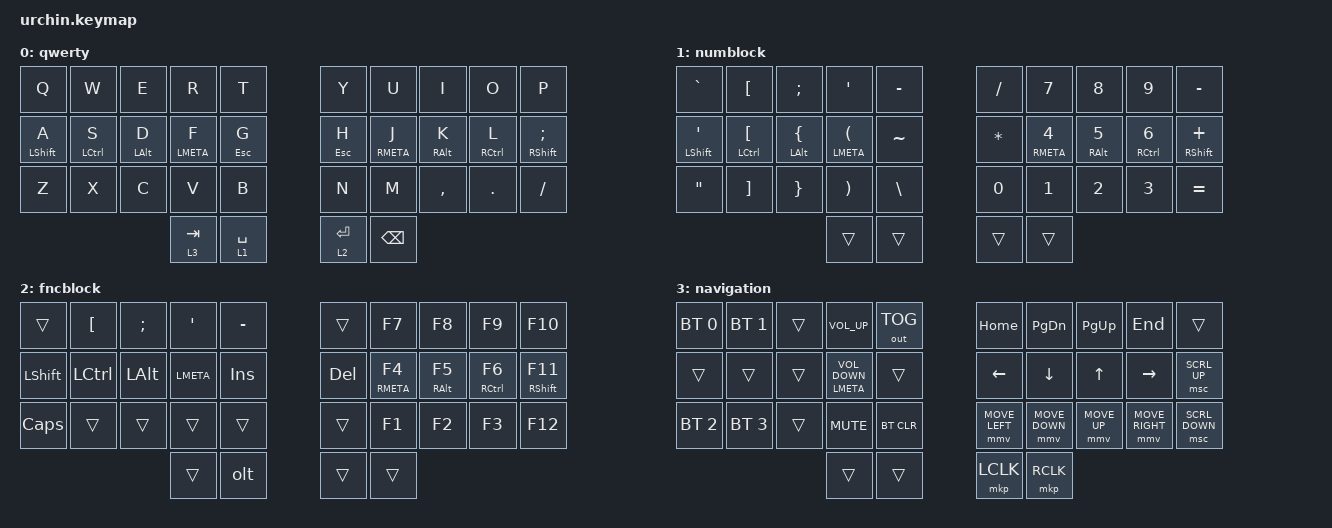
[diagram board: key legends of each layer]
/*
 * Copyright (c) 2020 duckyb
 *
 * SPDX-License-Identifier: MIT
 */

#include <behaviors.dtsi>
#include <dt-bindings/zmk/keys.h>
#include <dt-bindings/zmk/bt.h>
#include <dt-bindings/zmk/pointing.h>
#include <dt-bindings/zmk/outputs.h>

// Layer definitions
#define BASE 0
#define NUM 1
#define FNC 2
#define NAV 3
// -----------------

&mt {
    flavor = "balanced";
};


/ {
    macros {
        olt: os_language_toggle {
            compatible = "zmk,behavior-macro";
            #binding-cells =  <0>;
            bindings
                = <&kp LS(LALT)>
                , <&kp LC(SPACE)>
                ;
        };
    };

	keymap {
		compatible = "zmk,keymap";
		// Base alpha layer
		default_layer {
			label = "qwerty";
			bindings = <
			&kp Q         &kp W       &kp E      &kp R       &kp T                                 &kp Y     &kp U       &kp I      &kp O       &kp P
			&mt LSHIFT A  &mt LCTRL S &mt LALT D &mt LMETA F &mt ESC G                             &mt ESC H &mt RMETA J &mt RALT K &mt RCTRL L &mt RSHIFT SEMI
			&kp Z         &kp X       &kp C      &kp V       &kp B                                 &kp N     &kp M       &kp COMMA  &kp DOT     &kp SLASH
						                                     &lt 3 TAB &lt 1 SPACE    &lt 2 RETURN &kp BSPC
			>;
		};

		// Numbers and high frequency symbols
		num_layer {
			label = "numblock";
			bindings = <
            &kp GRAVE      &kp LBKT         &kp SEMI        &kp SQT         &kp MINUS		       &kp SLASH       &kp N7       &kp N8      &kp N9       &kp MINUS
			&mt LSHIFT SQT &mt LCTRL LBKT   &mt LALT LBRC   &mt LMETA LPAR  &kp TILDE              &kp ASTRK       &mt RMETA N4 &mt RALT N5 &mt RCTRL N6 &mt RSHIFT PLUS
			&kp DQT        &kp RBKT         &kp RBRC        &kp RPAR        &kp BSLH 	           &kp N0          &kp N1       &kp N2      &kp N3       &kp EQUAL
														                    &trans &trans   &trans &trans
			>;
		};

		// Main modifiers and arrow keys
		fnc_layer {
			label = "fncblock";
			bindings = <
			&trans     &kp LBKT     &kp SEMI  &kp SQT    &kp MINUS    	       &trans  &kp F7        &kp F8       &kp F9       &kp F10
			&kp LSHIFT &kp LCTRL    &kp LALT  &kp LMETA  &kp INS 			   &kp DEL &mt RMETA F4  &mt RALT F5  &mt RCTRL F6 &mt RSHIFT F11
			&kp CLCK   &trans       &trans    &trans     &trans                &trans  &kp F1        &kp F2       &kp F3       &kp F12
													     &trans &olt    &trans &trans
			>;
		};

		// Function keys with modifiers
		nav_layer {
			label = "navigation";
			bindings = <
			&bt BT_SEL 0 &bt BT_SEL 1 &trans &kp C_VOLUME_UP         &out OUT_TOG                 &kp HOME       &kp PG_DN      &kp PG_UP    &kp END         &trans
			&trans       &trans       &trans &mt LMETA C_VOLUME_DOWN &trans                       &kp LEFT       &kp DOWN       &kp UP       &kp RIGHT       &msc SCRL_UP
			&bt BT_SEL 2 &bt BT_SEL 3 &trans &kp C_MUTE              &bt BT_CLR			          &mmv MOVE_LEFT &mmv MOVE_DOWN &mmv MOVE_UP &mmv MOVE_RIGHT &msc SCRL_DOWN
							                                         &trans &trans      &mkp LCLK &mkp RCLK
			>;
		};
	};
};
